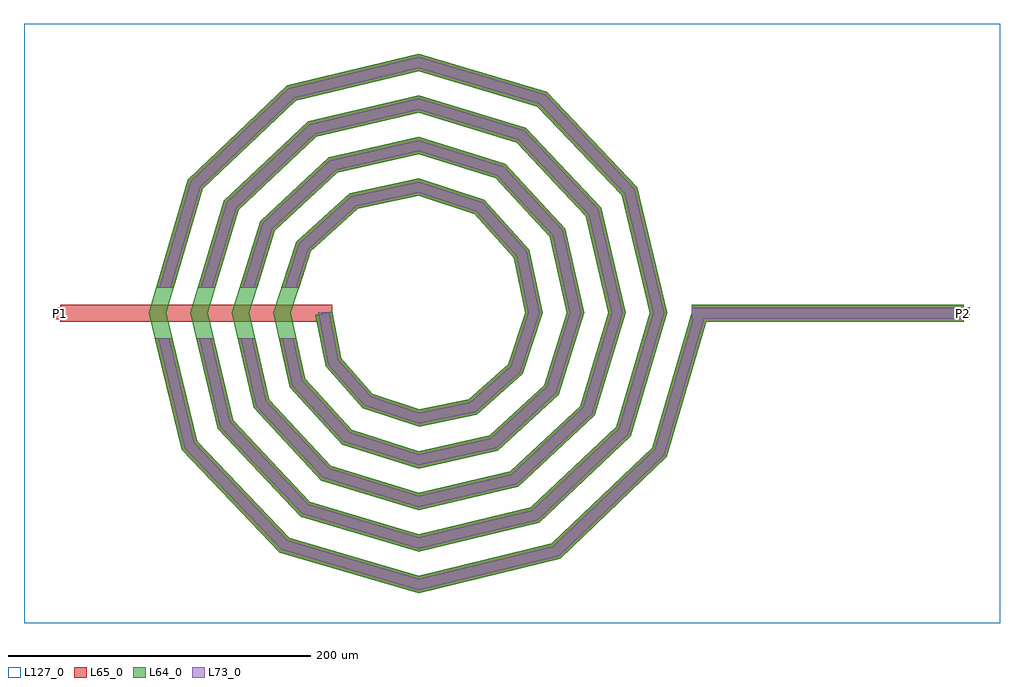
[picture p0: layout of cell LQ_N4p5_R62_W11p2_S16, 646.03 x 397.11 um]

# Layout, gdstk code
import gdstk
lib = gdstk.Library(unit=1e-6, precision=1e-09)
def R(c, l, rs):  # rectangles x0, y0, x1, y1
    for r in rs: c.add(gdstk.rectangle(r[:2], r[2:], *l))
def P(c, l, *ps):  # polygons
    for p in ps: c.add(gdstk.Polygon(p, *l))
L64_0 = (64, 0)
L65_0 = (65, 0)
L73_0 = (73, 0)
L127_0 = (127, 0)

lq_n4p5_r62_w11p2_s16 = lib.new_cell('LQ_N4p5_R62_W11p2_S16')
R(lq_n4p5_r62_w11p2_s16, L64_0, [(180.917,-5.6,360.917,5.6)])
P(lq_n4p5_r62_w11p2_s16, L64_0, [(-51.094,-29.939),(-30.436,-53.453),(0.356,-63.802),(33.345,-57.067),(59.391,-33.904),(70.678,0.324),(63.037,36.758),(37.367,65.332),(0.297,77.555),(-40.174,69.005),(-71.276,40.826),(-84.432,0.275),(-74.972,-43.594),(-44.282,-77.222),(0.255,-91.309),(47.017,-80.937),(83.169,-47.736),(98.187,0.238),(86.901,50.442),(51.188,89.117),(0.224,105.064),(-53.868,92.864),(-95.067,54.639),(-111.942,0.211),(-98.827,-57.296),(-58.088,-101.017),(0.199,-118.82),(60.725,-104.789),(106.968,-61.536),(125.698,0.189),(110.75,64.156),(64.984,112.919),(0.179,132.575),(-67.587,116.711),(-118.871,68.43),(-139.453,0.171),(-122.672,-71.019),(-71.876,-124.824),(0.163,-146.331),(74.451,-128.632),(130.777,-75.321),(153.209,0.156),(134.592,77.884),(78.766,136.73),(0.149,160.087),(-81.318,140.551),(-142.683,82.21),(-166.965,0.144),(-146.511,-84.751),(-85.654,-148.637),(0.138,-173.843),(88.186,-152.47),(154.591,-89.098),(181.143,1.574),(191.891,-1.574),(164.495,-95.127),(93.746,-162.645),(0.138,-185.435),(-91.692,-158.536),(-156.691,-90.302),(-178.557,0.144),(-152.577,88.258),(-86.858,150.737),(0.149,171.679),(84.824,146.617),(144.784,83.413),(164.801,0.156),(140.657,-81.391),(79.968,-138.831),(0.163,-157.922),(-77.958,-134.696),(-132.878,-76.523),(-151.044,0.171),(-128.736,74.526),(-73.077,126.925),(0.179,144.166),(71.094,122.774),(120.973,69.63),(137.287,0.189),(116.813,-67.664),(66.182,-115.021),(0.199,-130.409),(-64.234,-110.851),(-109.07,-62.733),(-123.531,0.211),(-104.888,60.805),(-59.283,103.119),(0.224,116.652),(57.377,98.924),(97.169,55.831),(109.774,0.238),(92.959,-53.951),(52.378,-91.22),(0.255,-102.895),(-50.527,-86.993),(-85.272,-48.923),(-96.016,0.275),(-81.026,47.106),(-45.464,79.325),(0.297,89.137),(43.687,75.056),(73.38,42.003),(82.258,0.324),(69.084,-40.271),(38.537,-67.438),(0.356,-75.378),(-36.861,-63.109),(-61.498,-35.066),(-68.206,-1.085),(-57.218,1.085)])
R(lq_n4p5_r62_w11p2_s16, L65_0, [(-237.112,-5.6,-57.112,5.6), (180.917,-5.6,360.917,5.6), (-241.112,-4,-233.112,4), (356.917,-4,364.917,4)])
P(lq_n4p5_r62_w11p2_s16, L65_0, [(-146.511,-84.752),(-85.654,-148.637),(0.138,-173.843),(88.186,-152.47),(154.591,-89.098),(181.143,1.574),(191.891,-1.574),(164.495,-95.127),(93.746,-162.645),(0.138,-185.435),(-91.692,-158.536),(-156.691,-90.302),(-174.461,-16.8),(-162.938,-16.8)],
  [(-122.672,-71.019),(-71.876,-124.824),(0.163,-146.331),(74.451,-128.632),(130.777,-75.321),(153.209,0.156),(134.592,77.884),(78.766,136.73),(0.15,160.087),(-81.318,140.551),(-142.683,82.21),(-161.969,16.8),(-173.646,16.8),(-152.577,88.258),(-86.858,150.738),(0.15,171.679),(84.824,146.617),(144.784,83.414),(164.801,0.156),(140.657,-81.391),(79.969,-138.831),(0.163,-157.922),(-77.958,-134.696),(-132.878,-76.523),(-147.024,-16.8),(-135.514,-16.8)],
  [(-98.827,-57.296),(-58.088,-101.017),(0.199,-118.82),(60.725,-104.789),(106.968,-61.536),(125.698,0.189),(110.75,64.156),(64.984,112.919),(0.179,132.575),(-67.587,116.711),(-118.871,68.43),(-134.362,16.8),(-146.055,16.8),(-128.736,74.526),(-73.077,126.925),(0.179,144.166),(71.094,122.775),(120.973,69.63),(137.287,0.189),(116.813,-67.664),(66.182,-115.021),(0.199,-130.409),(-64.234,-110.851),(-109.07,-62.733),(-119.623,-16.8),(-108.131,-16.8)],
  [(-74.972,-43.594),(-44.282,-77.222),(0.255,-91.309),(47.017,-80.937),(83.169,-47.736),(98.187,0.238),(86.901,50.442),(51.188,89.117),(0.224,105.065),(-53.868,92.864),(-95.067,54.639),(-106.709,16.8),(-118.427,16.8),(-104.888,60.805),(-59.283,103.119),(0.224,116.652),(57.377,98.924),(97.169,55.831),(109.774,0.238),(92.959,-53.952),(52.378,-91.22),(0.255,-102.895),(-50.527,-86.993),(-85.272,-48.923),(-92.287,-16.8),(-80.823,-16.8)],
  [(-30.436,-53.453),(0.356,-63.802),(33.345,-57.067),(59.391,-33.904),(70.678,0.324),(63.037,36.758),(37.367,65.332),(0.297,77.555),(-40.174,69.005),(-71.276,40.826),(-78.967,16.8),(-90.726,16.8),(-81.026,47.106),(-45.464,79.326),(0.297,89.137),(43.687,75.056),(73.381,42.003),(82.258,0.324),(69.084,-40.272),(38.537,-67.438),(0.356,-75.378),(-36.861,-63.109),(-61.498,-35.066),(-68.206,-1.085),(-57.218,1.085),(-51.094,-29.939)])
R(lq_n4p5_r62_w11p2_s16, L73_0, [(180.917,-3.6,360.917,3.6)])
P(lq_n4p5_r62_w11p2_s16, L73_0, [(-148.329,-85.743),(-86.732,-150.405),(0.089,-175.913),(89.179,-154.287),(156.359,-90.174),(183.062,1.012),(189.972,-1.012),(162.727,-94.05),(92.753,-160.828),(0.089,-183.365),(-90.614,-156.768),(-154.873,-89.311),(-172.403,-16.8),(-164.996,-16.8)],
  [(-124.494,-72.001),(-72.962,-126.587),(0.105,-148.401),(75.436,-130.453),(132.541,-76.405),(155.279,0.1),(136.412,78.871),(79.848,138.495),(0.096,162.157),(-82.307,142.37),(-144.45,83.29),(-164.054,16.8),(-171.561,16.8),(-150.81,87.178),(-85.869,148.919),(0.096,169.609),(83.742,144.851),(142.964,82.426),(162.731,0.1),(138.892,-80.307),(78.983,-137.009),(0.105,-155.853),(-76.872,-132.933),(-131.055,-75.54),(-144.969,-16.8),(-137.57,-16.8)],
  [(-100.656,-58.267),(-59.186,-102.773),(0.128,-120.889),(61.7,-106.616),(108.726,-62.631),(127.767,0.121),(112.576,65.133),(66.075,114.679),(0.115,134.645),(-68.567,118.535),(-120.633,69.519),(-136.45,16.8),(-143.967,16.8),(-126.974,73.437),(-72.096,125.101),(0.115,142.096),(70.003,121.015),(119.147,68.652),(135.218,0.121),(115.055,-66.569),(65.207,-113.194),(0.128,-128.34),(-63.136,-109.095),(-107.241,-61.762),(-117.57,-16.8),(-110.183,-16.8)],
  [(-76.811,-44.546),(-45.397,-78.967),(0.164,-93.378),(47.974,-82.773),(84.917,-48.846),(100.256,0.153),(88.735,51.404),(52.293,90.868),(0.144,107.134),(-54.835,94.696),(-96.82,55.74),(-108.801,16.8),(-116.334,16.8),(-103.134,59.704),(-58.316,101.288),(0.144,114.583),(56.272,97.173),(95.336,54.869),(107.705,0.153),(91.211,-52.842),(51.421,-89.384),(0.164,-100.826),(-49.412,-85.248),(-83.433,-47.971),(-90.24,-16.8),(-82.87,-16.8)],
  [(-31.583,-55.177),(0.229,-65.869),(34.273,-58.919),(61.122,-35.041),(72.746,0.208),(64.884,37.694),(38.495,67.069),(0.191,79.623),(-41.119,70.848),(-73.017,41.947),(-81.067,16.8),(-88.626,16.8),(-79.285,45.984),(-44.52,77.483),(0.191,87.069),(42.558,73.32),(71.533,41.066),(80.19,0.208),(67.353,-39.134),(37.61,-65.586),(0.229,-73.311),(-35.714,-61.385),(-59.64,-34.15),(-66.244,0.697),(-59.18,0.697),(-52.951,-30.854)])
R(lq_n4p5_r62_w11p2_s16, L127_0, [(-261.112,-205.435,384.917,191.679)])
lq_n4p5_r62_w11p2_s16.add(gdstk.Label('P2', (360.917,0), layer=65, texttype=0))
lq_n4p5_r62_w11p2_s16.add(gdstk.Label('P1', (-237.112,0), layer=65, texttype=0))
lq_n4p5_r62_w11p2_s16.add(gdstk.Label('P2', (364.917,0), layer=145, texttype=0))
lq_n4p5_r62_w11p2_s16.add(gdstk.Label('P1', (-241.112,0), layer=145, texttype=0))

lib.write_gds('LQ_N4p5_R62_W11p2_S16.gds')
